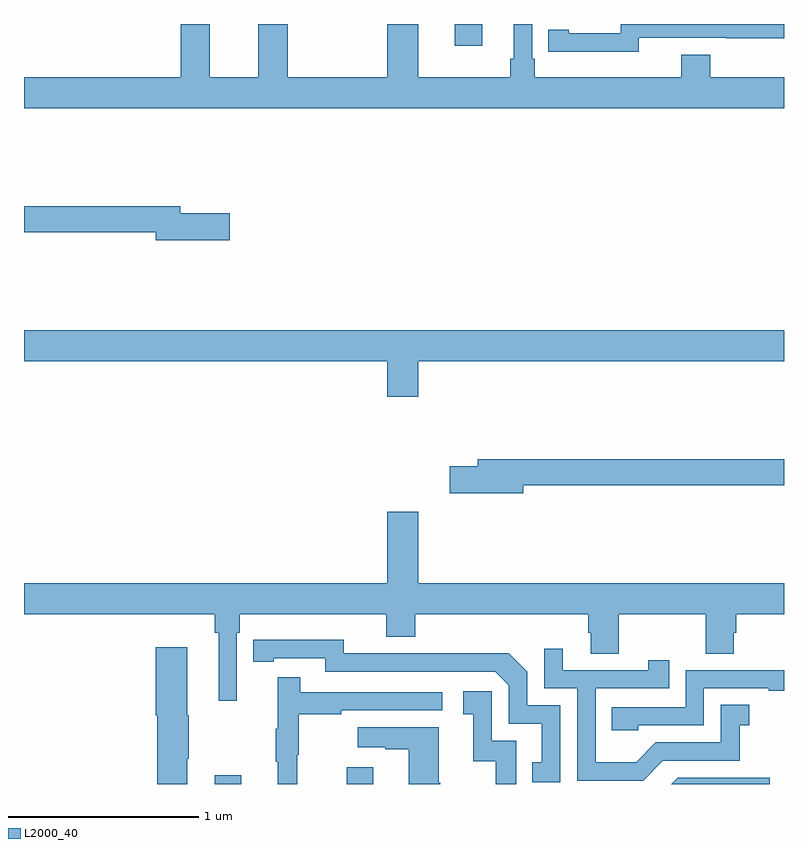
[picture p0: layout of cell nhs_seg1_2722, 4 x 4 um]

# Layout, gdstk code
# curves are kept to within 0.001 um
import gdstk
lib = gdstk.Library(unit=1e-6, precision=1e-09)
def R(c, l, rs):  # rectangles x0, y0, x1, y1
    for r in rs: c.add(gdstk.rectangle(r[:2], r[2:], *l))
def P(c, l, *ps):  # polygons
    for p in ps: c.add(gdstk.Polygon(p, *l))
L2000_40 = (2000, 40)

nhs_seg1_2722 = lib.new_cell('nhs_seg1_2722')
R(nhs_seg1_2722, L2000_40, [(260.003,524.199,260.143,524.245), (260.699,524.199,260.839,524.287), (261.266,528.084,261.412,528.199)])
P(nhs_seg1_2722, L2000_40, [(263,527.92),(262.613,527.92),(262.613,528.037),(262.46,528.037),(262.46,527.92),(261.689,527.92),(261.689,528.016),(261.675,528.016),(261.675,528.199),(261.578,528.199),(261.578,528.016),(261.559,528.016),(261.559,527.92),(261.076,527.92),(261.076,528.199),(260.912,528.199),(260.912,527.92),(260.387,527.92),(260.387,528.199),(260.234,528.199),(260.234,527.92),(259.978,527.92),(259.978,528.199),(259.826,528.199),(259.826,527.92),(259,527.92),(259,527.756),(263,527.756)],
  [(262.236,528.126),(262.696,528.126),(262.696,528.125),(263,528.125),(263,528.199),(262.14,528.199),(262.14,528.15),(261.868,528.15),(261.868,528.17),(261.76,528.17),(261.76,528.054),(261.868,528.054),(261.868,528.053),(262.236,528.053)],
  [(260.083,527.204),(259.822,527.204),(259.822,527.24),(259,527.24),(259,527.104),(259.694,527.104),(259.694,527.062),(260.083,527.062)],
  [(261.076,526.424),(263,526.424),(263,526.588),(259,526.588),(259,526.424),(260.912,526.424),(260.912,526.236),(261.076,526.236)],
  [(261.628,525.772),(263,525.772),(263,525.908),(261.389,525.908),(261.389,525.872),(261.24,525.872),(261.24,525.73),(261.628,525.73)],
  [(260.121,524.996),(260.135,524.996),(260.135,525.092),(260.906,525.092),(260.906,524.975),(261.059,524.975),(261.059,525.092),(261.971,525.092),(261.971,524.994),(261.983,524.994),(261.983,524.884),(262.131,524.884),(262.131,525.092),(262.588,525.092),(262.588,524.884),(262.735,524.884),(262.735,524.994),(262.748,524.994),(262.748,525.092),(263,525.092),(263,525.256),(261.076,525.256),(261.076,525.631),(260.912,525.631),(260.912,525.256),(259,525.256),(259,525.092),(260.005,525.092),(260.005,524.996),(260.024,524.996),(260.024,524.637),(260.121,524.637)],
  [(261.822,524.613),(261.648,524.613),(261.648,524.79),(261.55,524.888),(261.142,524.888),(261.142,524.886),(260.682,524.886),(260.682,524.959),(260.206,524.958),(260.206,524.842),(260.314,524.842),(260.314,524.862),(260.586,524.862),(260.586,524.79),(261.48,524.79),(261.552,524.718),(261.552,524.517),(261.725,524.517),(261.725,524.313),(261.676,524.313),(261.676,524.208),(261.822,524.208)],
  [(259.858,524.332),(259.866,524.332),(259.866,524.562),(259.858,524.562),(259.858,524.92),(259.694,524.92),(259.694,524.562),(259.7,524.562),(259.7,524.199),(259.858,524.199)],
  [(262.363,524.322),(262.767,524.322),(262.767,524.507),(262.816,524.507),(262.816,524.617),(262.668,524.617),(262.668,524.418),(262.326,524.418),(262.222,524.314),(262.008,524.314),(262.008,524.703),(262.397,524.703),(262.397,524.851),(262.286,524.851),(262.286,524.799),(261.835,524.799),(261.835,524.911),(261.738,524.911),(261.738,524.703),(261.912,524.703),(261.912,524.217),(262.258,524.217)],
  [(262.233,524.508),(262.578,524.508),(262.578,524.703),(262.919,524.703),(262.919,524.691),(263,524.691),(263,524.799),(262.482,524.799),(262.482,524.604),(262.093,524.604),(262.093,524.481),(262.233,524.481)],
  [(260.438,524.352),(260.446,524.352),(260.446,524.566),(260.669,524.566),(260.669,524.586),(261.202,524.586),(261.202,524.682),(260.453,524.682),(260.453,524.761),(260.336,524.761),(260.336,524.489),(260.325,524.489),(260.325,524.315),(260.336,524.315),(260.336,524.199),(260.438,524.199)],
  [(261.591,524.427),(261.462,524.427),(261.462,524.686),(261.312,524.686),(261.312,524.565),(261.365,524.565),(261.365,524.319),(261.483,524.319),(261.483,524.199),(261.591,524.199)],
  [(261.192,524.206),(261.184,524.206),(261.184,524.497),(260.757,524.497),(260.757,524.393),(260.9,524.393),(260.9,524.383),(261.026,524.383),(261.026,524.199),(261.192,524.199)],
  [(262.926,524.232),(262.44,524.232),(262.407,524.199),(262.926,524.199)])

lib.write_gds('nhs_seg1_2722.gds')
